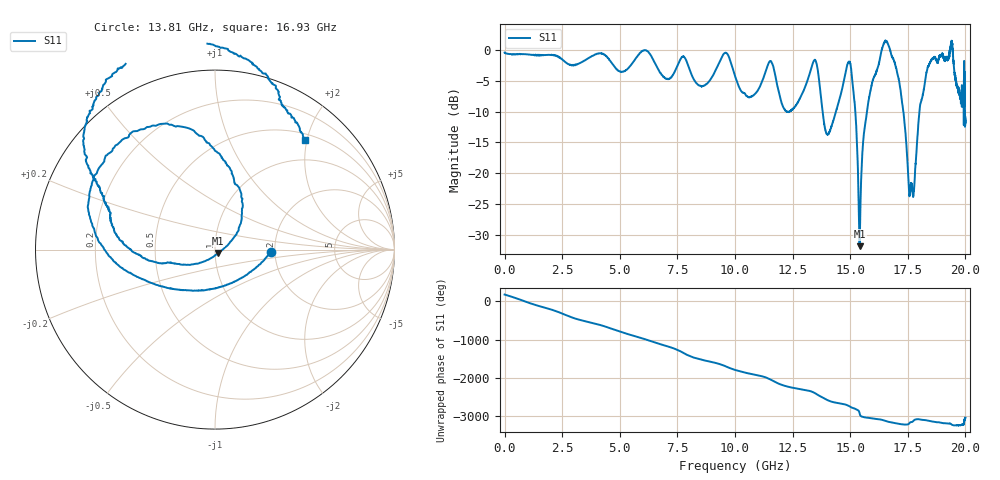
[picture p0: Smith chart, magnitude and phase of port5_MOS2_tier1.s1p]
! Created with skrf 1.8.0 (http://scikit-rf.org).
# GHz S RI R 50.0
!freq ReS11 ImS11
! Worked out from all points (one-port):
!   10000 points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, 3 MHz to 20 GHz, reference 50 ohm
!   lowest |S11| = -31.8 dB at 15.41 GHz (marker M1), VSWR 1.05, Z = 51.8 - j1.94 ohm
!   |S11| at or under -10 dB: 13.8 GHz to 14.38 GHz (577.5 MHz wide, 4.1 % of centre); 15.22 GHz to 15.73 GHz (504.9 MHz wide, 3.26 % of centre); 17.31 GHz to 18 GHz (699.4 MHz wide, 3.96 % of centre) (the widest 3 of 7)
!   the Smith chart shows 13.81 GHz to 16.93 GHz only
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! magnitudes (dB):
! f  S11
! 3 MHz  -0.4
! 2.503 GHz  -1.6
! 5.003 GHz  -3.5
! 6.069 GHz  -0.1
! 7.011 GHz  -4.7
! 7.503 GHz  -2.6
! 8.615 GHz  -5.8
! 9.599 GHz  -0.5
! 10 GHz  -4.2
! 10.71 GHz  -7.6
! 11.56 GHz  -1.8
! 12.1 GHz  -9.3
! 12.5 GHz  -9.6
! 13.47 GHz  -1.6
! 14.05 GHz  -13.6
! 15 GHz  -2.2
! 15.2 GHz  -9.0
! 15.41 GHz  -31.8
! 15.6 GHz  -13.3
! 15.81 GHz  -7.8
! 16.52 GHz  1.5
! 17.11 GHz  -4.8
! 17.5 GHz  -19.2
! 17.74 GHz  -23.5
! 18.06 GHz  -8.6
! 18.57 GHz  -1.4
! 19.39 GHz  1.2
! 20 GHz  -11.5
